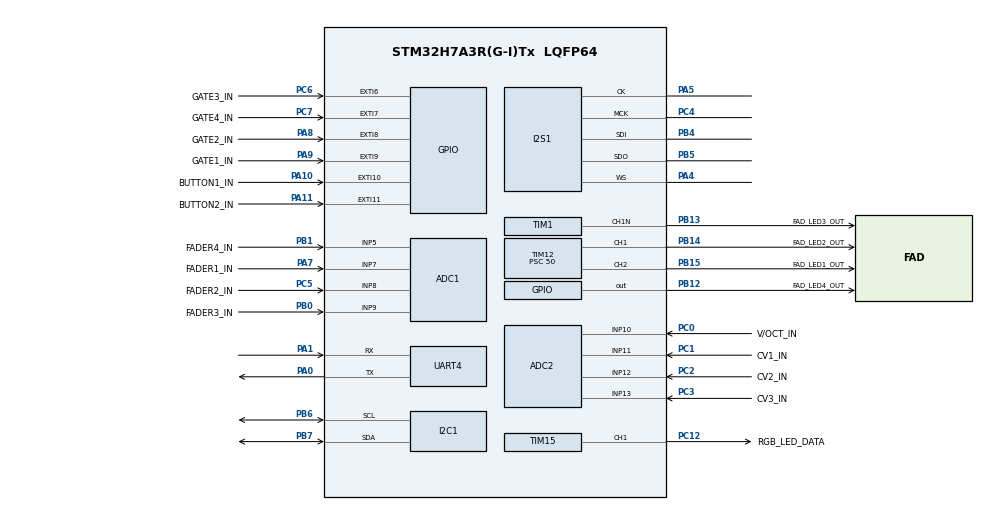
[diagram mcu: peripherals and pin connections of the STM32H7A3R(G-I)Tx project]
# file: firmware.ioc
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ADC1.Channel-1\#ChannelRegularConversion=ADC_CHANNEL_7
ADC1.Channel-2\#ChannelRegularConversion=ADC_CHANNEL_8
ADC1.Channel-3\#ChannelRegularConversion=ADC_CHANNEL_9
ADC1.Channel-4\#ChannelRegularConversion=ADC_CHANNEL_5
ADC1.ClockPrescaler=ADC_CLOCK_ASYNC_DIV4
ADC1.ContinuousConvMode=ENABLE
ADC1.ConversionDataManagement=ADC_CONVERSIONDATA_DMA_CIRCULAR
ADC1.NbrOfConversion=4
ADC1.NbrOfConversionFlag=1
ADC1.OffsetNumber-1\#ChannelRegularConversion=ADC_OFFSET_NONE
ADC1.OffsetNumber-2\#ChannelRegularConversion=ADC_OFFSET_NONE
ADC1.OffsetNumber-3\#ChannelRegularConversion=ADC_OFFSET_NONE
ADC1.OffsetNumber-4\#ChannelRegularConversion=ADC_OFFSET_NONE
ADC1.OffsetSignedSaturation-1\#ChannelRegularConversion=DISABLE
ADC1.OffsetSignedSaturation-2\#ChannelRegularConversion=DISABLE
ADC1.OffsetSignedSaturation-3\#ChannelRegularConversion=DISABLE
ADC1.OffsetSignedSaturation-4\#ChannelRegularConversion=DISABLE
ADC1.OversamplingMode=ENABLE
ADC1.Rank-1\#ChannelRegularConversion=1
ADC1.Rank-2\#ChannelRegularConversion=2
ADC1.Rank-3\#ChannelRegularConversion=3
ADC1.Rank-4\#ChannelRegularConversion=4
ADC1.Ratio=32
ADC1.RightBitShift=ADC_RIGHTBITSHIFT_5
ADC1.SamplingTime-1\#ChannelRegularConversion=ADC_SAMPLETIME_64CYCLES_5
ADC1.SamplingTime-2\#ChannelRegularConversion=ADC_SAMPLETIME_64CYCLES_5
ADC1.SamplingTime-3\#ChannelRegularConversion=ADC_SAMPLETIME_64CYCLES_5
ADC1.SamplingTime-4\#ChannelRegularConversion=ADC_SAMPLETIME_64CYCLES_5
ADC1.master=1
ADC2.Channel-5\#ChannelRegularConversion=ADC_CHANNEL_10
ADC2.Channel-6\#ChannelRegularConversion=ADC_CHANNEL_11
ADC2.Channel-7\#ChannelRegularConversion=ADC_CHANNEL_12
ADC2.Channel-8\#ChannelRegularConversion=ADC_CHANNEL_13
ADC2.ClockPrescaler=ADC_CLOCK_ASYNC_DIV4
ADC2.ContinuousConvMode=ENABLE
ADC2.ConversionDataManagement=ADC_CONVERSIONDATA_DMA_CIRCULAR
ADC2.NbrOfConversion=4
ADC2.NbrOfConversionFlag=1
ADC2.OffsetNumber-5\#ChannelRegularConversion=ADC_OFFSET_NONE
ADC2.OffsetNumber-6\#ChannelRegularConversion=ADC_OFFSET_NONE
ADC2.OffsetNumber-7\#ChannelRegularConversion=ADC_OFFSET_NONE
ADC2.OffsetNumber-8\#ChannelRegularConversion=ADC_OFFSET_NONE
ADC2.OffsetSignedSaturation-5\#ChannelRegularConversion=DISABLE
ADC2.OffsetSignedSaturation-6\#ChannelRegularConversion=DISABLE
ADC2.OffsetSignedSaturation-7\#ChannelRegularConversion=DISABLE
ADC2.OffsetSignedSaturation-8\#ChannelRegularConversion=DISABLE
ADC2.OversamplingMode=ENABLE
ADC2.Rank-5\#ChannelRegularConversion=1
ADC2.Rank-6\#ChannelRegularConversion=2
ADC2.Rank-7\#ChannelRegularConversion=3
ADC2.Rank-8\#ChannelRegularConversion=4
ADC2.Ratio=32
ADC2.RightBitShift=ADC_RIGHTBITSHIFT_5
ADC2.SamplingTime-5\#ChannelRegularConversion=ADC_SAMPLETIME_64CYCLES_5
ADC2.SamplingTime-6\#ChannelRegularConversion=ADC_SAMPLETIME_64CYCLES_5
ADC2.SamplingTime-7\#ChannelRegularConversion=ADC_SAMPLETIME_64CYCLES_5
ADC2.SamplingTime-8\#ChannelRegularConversion=ADC_SAMPLETIME_64CYCLES_5
CORTEX_M7.AccessPermission_S-Cortex_Memory_Protection_Unit_Region1_Settings_S=MPU_REGION_FULL_ACCESS
CORTEX_M7.BaseAddress_S-Cortex_Memory_Protection_Unit_Region1_Settings_S=0x08FFF80C
CORTEX_M7.Enable_S-Cortex_Memory_Protection_Unit_Region1_Settings_S=MPU_REGION_ENABLE
CORTEX_M7.Enable_Spec=MPU_REGION_ENABLE
CORTEX_M7.Size_S-Cortex_Memory_Protection_Unit_Region1_Settings_S=MPU_REGION_SIZE_2MB
CORTEX_M7.default_mode_Activation=1
Dma.ADC1.0.Direction=DMA_PERIPH_TO_MEMORY
Dma.ADC1.0.EventEnable=DISABLE
Dma.ADC1.0.FIFOMode=DMA_FIFOMODE_DISABLE
Dma.ADC1.0.Instance=DMA1_Stream2
Dma.ADC1.0.MemDataAlignment=DMA_MDATAALIGN_HALFWORD
Dma.ADC1.0.MemInc=DMA_MINC_ENABLE
Dma.ADC1.0.Mode=DMA_CIRCULAR
Dma.ADC1.0.PeriphDataAlignment=DMA_PDATAALIGN_HALFWORD
Dma.ADC1.0.PeriphInc=DMA_PINC_DISABLE
Dma.ADC1.0.Polarity=HAL_DMAMUX_REQ_GEN_RISING
Dma.ADC1.0.Priority=DMA_PRIORITY_LOW
Dma.ADC1.0.RequestNumber=1
Dma.ADC1.0.SignalID=NONE
Dma.ADC1.0.SyncEnable=DISABLE
Dma.ADC1.0.SyncPolarity=HAL_DMAMUX_SYNC_NO_EVENT
Dma.ADC1.0.SyncRequestNumber=1
Dma.ADC1.0.SyncSignalID=NONE
Dma.ADC2.1.Direction=DMA_PERIPH_TO_MEMORY
Dma.ADC2.1.EventEnable=DISABLE
Dma.ADC2.1.FIFOMode=DMA_FIFOMODE_DISABLE
Dma.ADC2.1.Instance=DMA1_Stream3
Dma.ADC2.1.MemDataAlignment=DMA_MDATAALIGN_HALFWORD
Dma.ADC2.1.MemInc=DMA_MINC_ENABLE
Dma.ADC2.1.Mode=DMA_CIRCULAR
Dma.ADC2.1.PeriphDataAlignment=DMA_PDATAALIGN_HALFWORD
Dma.ADC2.1.PeriphInc=DMA_PINC_DISABLE
Dma.ADC2.1.Polarity=HAL_DMAMUX_REQ_GEN_RISING
Dma.ADC2.1.Priority=DMA_PRIORITY_LOW
Dma.ADC2.1.RequestNumber=1
Dma.ADC2.1.SignalID=NONE
Dma.ADC2.1.SyncEnable=DISABLE
Dma.ADC2.1.SyncPolarity=HAL_DMAMUX_SYNC_NO_EVENT
Dma.ADC2.1.SyncRequestNumber=1
Dma.ADC2.1.SyncSignalID=NONE
Dma.Request0=ADC1
Dma.Request1=ADC2
Dma.Request2=SPI1_RX
Dma.Request3=SPI1_TX
Dma.Request4=TIM15_CH1
Dma.SPI1_RX.2.Direction=DMA_PERIPH_TO_MEMORY
Dma.SPI1_RX.2.EventEnable=DISABLE
Dma.SPI1_RX.2.FIFOMode=DMA_FIFOMODE_DISABLE
Dma.SPI1_RX.2.Instance=DMA1_Stream0
Dma.SPI1_RX.2.MemDataAlignment=DMA_MDATAALIGN_HALFWORD
Dma.SPI1_RX.2.MemInc=DMA_MINC_ENABLE
Dma.SPI1_RX.2.Mode=DMA_CIRCULAR
Dma.SPI1_RX.2.PeriphDataAlignment=DMA_PDATAALIGN_HALFWORD
Dma.SPI1_RX.2.PeriphInc=DMA_PINC_DISABLE
Dma.SPI1_RX.2.Polarity=HAL_DMAMUX_REQ_GEN_RISING
Dma.SPI1_RX.2.Priority=DMA_PRIORITY_LOW
Dma.SPI1_RX.2.RequestNumber=1
Dma.SPI1_RX.2.SignalID=NONE
Dma.SPI1_RX.2.SyncEnable=DISABLE
Dma.SPI1_RX.2.SyncPolarity=HAL_DMAMUX_SYNC_NO_EVENT
Dma.SPI1_RX.2.SyncRequestNumber=1
Dma.SPI1_RX.2.SyncSignalID=NONE
Dma.SPI1_TX.3.Direction=DMA_MEMORY_TO_PERIPH
Dma.SPI1_TX.3.EventEnable=DISABLE
Dma.SPI1_TX.3.FIFOMode=DMA_FIFOMODE_DISABLE
Dma.SPI1_TX.3.Instance=DMA1_Stream1
Dma.SPI1_TX.3.MemDataAlignment=DMA_MDATAALIGN_HALFWORD
Dma.SPI1_TX.3.MemInc=DMA_MINC_ENABLE
Dma.SPI1_TX.3.Mode=DMA_CIRCULAR
Dma.SPI1_TX.3.PeriphDataAlignment=DMA_PDATAALIGN_HALFWORD
Dma.SPI1_TX.3.PeriphInc=DMA_PINC_DISABLE
Dma.SPI1_TX.3.Polarity=HAL_DMAMUX_REQ_GEN_RISING
Dma.SPI1_TX.3.Priority=DMA_PRIORITY_LOW
Dma.SPI1_TX.3.RequestNumber=1
Dma.SPI1_TX.3.SignalID=NONE
Dma.SPI1_TX.3.SyncEnable=DISABLE
Dma.SPI1_TX.3.SyncPolarity=HAL_DMAMUX_SYNC_NO_EVENT
Dma.SPI1_TX.3.SyncRequestNumber=1
Dma.SPI1_TX.3.SyncSignalID=NONE
Dma.TIM15_CH1.4.Direction=DMA_MEMORY_TO_PERIPH
Dma.TIM15_CH1.4.EventEnable=DISABLE
Dma.TIM15_CH1.4.FIFOMode=DMA_FIFOMODE_DISABLE
Dma.TIM15_CH1.4.Instance=DMA1_Stream4
Dma.TIM15_CH1.4.MemDataAlignment=DMA_MDATAALIGN_HALFWORD
Dma.TIM15_CH1.4.MemInc=DMA_MINC_ENABLE
Dma.TIM15_CH1.4.Mode=DMA_NORMAL
Dma.TIM15_CH1.4.PeriphDataAlignment=DMA_PDATAALIGN_HALFWORD
Dma.TIM15_CH1.4.PeriphInc=DMA_PINC_DISABLE
Dma.TIM15_CH1.4.Polarity=HAL_DMAMUX_REQ_GEN_RISING
Dma.TIM15_CH1.4.Priority=DMA_PRIORITY_LOW
Dma.TIM15_CH1.4.RequestNumber=1
Dma.TIM15_CH1.4.SignalID=NONE
Dma.TIM15_CH1.4.SyncEnable=DISABLE
Dma.TIM15_CH1.4.SyncPolarity=HAL_DMAMUX_SYNC_NO_EVENT
Dma.TIM15_CH1.4.SyncRequestNumber=1
Dma.TIM15_CH1.4.SyncSignalID=NONE
FREERTOS.Tasks01=defaultTask,24,512,StartDefaultTask,Default,NULL,Dynamic,NULL,NULL
FREERTOS.configMINIMAL_STACK_SIZE=256
I2C1.Timing=0x20B0CCFF
I2S1.AudioFreq=I2S_AUDIOFREQ_48K
I2S1.CPOL=I2S_CPOL_LOW
I2S1.ErrorAudioFreq=0.0 %
I2S1.Instance=SPI$Index
I2S1.RealAudioFreq=48.0 KHz
Mcu.Family=STM32H7
Mcu.Name=STM32H7A3R(G-I)Tx
Mcu.Package=LQFP64
NVIC.DMA1_Stream0_IRQn=true\:5\:0\:false\:false\:true\:true\:false\:true\:true
NVIC.DMA1_Stream1_IRQn=true\:5\:0\:false\:false\:true\:true\:false\:true\:true
NVIC.DMA1_Stream2_IRQn=true\:7\:0\:true\:false\:true\:true\:false\:true\:true
NVIC.DMA1_Stream3_IRQn=true\:8\:0\:true\:false\:true\:true\:false\:true\:true
NVIC.DMA1_Stream4_IRQn=true\:5\:0\:false\:false\:true\:true\:false\:true\:true
NVIC.EXTI15_10_IRQn=true\:10\:0\:true\:false\:true\:true\:true\:true\:true
NVIC.EXTI9_5_IRQn=true\:10\:0\:true\:false\:true\:true\:true\:true\:true
NVIC.PriorityGroup=NVIC_PRIORITYGROUP_4
NVIC.TIM15_IRQn=true\:5\:0\:false\:false\:true\:true\:true\:true\:true
NVIC.TIM17_IRQn=true\:5\:0\:false\:false\:true\:true\:true\:true\:true
NVIC.TIM7_IRQn=true\:15\:0\:false\:false\:true\:false\:false\:true\:true
NVIC.TIM8_TRG_COM_TIM14_IRQn=true\:5\:0\:false\:false\:true\:true\:true\:true\:true
NVIC.TIM8_UP_TIM13_IRQn=true\:5\:0\:false\:false\:true\:true\:true\:true\:true
NVIC.TimeBase=TIM7_IRQn
NVIC.TimeBaseIP=TIM7
PA0.Mode=Asynchronous
PA0.Signal=UART4_TX
PA1.Mode=Asynchronous
PA1.Signal=UART4_RX
PA10.GPIO_Label=BUTTON1_IN
PA10.GPIO_ModeDefaultEXTI=GPIO_MODE_IT_FALLING
PA10.Signal=GPXTI10
PA11.GPIO_Label=BUTTON2_IN
PA11.GPIO_ModeDefaultEXTI=GPIO_MODE_IT_FALLING
PA11.Signal=GPXTI11
PA13.Mode=Trace_Asynchronous_SW
PA13.Signal=DEBUG_JTMS-SWDIO
PA14.Mode=Trace_Asynchronous_SW
PA14.Signal=DEBUG_JTCK-SWCLK
PA4.GPIO_Speed=GPIO_SPEED_FREQ_VERY_HIGH
PA4.Mode=Full_Duplex_Master
PA4.Signal=I2S1_WS
PA5.GPIO_Speed=GPIO_SPEED_FREQ_MEDIUM
PA5.Mode=Full_Duplex_Master
PA5.Signal=I2S1_CK
PA7.GPIO_Label=FADER1_IN
PA7.Signal=ADCx_INP7
PA8.GPIO_Label=GATE2_IN
PA8.GPIO_ModeDefaultEXTI=GPIO_MODE_IT_FALLING
PA8.Signal=GPXTI8
PA9.GPIO_Label=GATE1_IN
PA9.GPIO_ModeDefaultEXTI=GPIO_MODE_IT_FALLING
PA9.Signal=GPXTI9
PB0.GPIO_Label=FADER3_IN
PB0.Signal=ADCx_INP9
PB1.GPIO_Label=FADER4_IN
PB1.Signal=ADCx_INP5
PB12.GPIO_Label=FAD_LED4_OUT
PB12.Signal=GPIO_Output
PB13.GPIO_Label=FAD_LED3_OUT
PB13.Mode=PWM Generation1 CH1N
PB13.Signal=TIM1_CH1N
PB14.GPIO_Label=FAD_LED2_OUT
PB14.Signal=S_TIM12_CH1
PB15.GPIO_Label=FAD_LED1_OUT
PB15.Signal=S_TIM12_CH2
PB3.Mode=Trace_Asynchronous_SW
PB3.Signal=DEBUG_JTDO-SWO
PB4.GPIO_Speed=GPIO_SPEED_FREQ_VERY_HIGH
PB4.Mode=Full_Duplex_Master
PB4.Signal=I2S1_SDI
PB5.GPIO_Speed=GPIO_SPEED_FREQ_VERY_HIGH
PB5.Mode=Full_Duplex_Master
PB5.Signal=I2S1_SDO
PB6.Mode=I2C
PB6.Signal=I2C1_SCL
PB7.Mode=I2C
PB7.Signal=I2C1_SDA
PC0.GPIO_Label=V/OCT_IN
PC0.Signal=ADCx_INP10
PC1.GPIO_Label=CV1_IN
PC1.Signal=ADCx_INP11
PC12.GPIO_Label=RGB_LED_DATA
PC12.Signal=S_TIM15_CH1
PC2.GPIO_Label=CV2_IN
PC2.Signal=ADCx_INP12
PC3.GPIO_Label=CV3_IN
PC3.Signal=ADCx_INP13
PC4.GPIO_Speed=GPIO_SPEED_FREQ_VERY_HIGH
PC4.Mode=Master_Clock_Activated
PC4.Signal=I2S1_MCK
PC5.GPIO_Label=FADER2_IN
PC5.Signal=ADCx_INP8
PC6.GPIO_Label=GATE3_IN
PC6.GPIO_ModeDefaultEXTI=GPIO_MODE_IT_FALLING
PC6.Signal=GPXTI6
PC7.GPIO_Label=GATE4_IN
PC7.GPIO_ModeDefaultEXTI=GPIO_MODE_IT_FALLING
PC7.Signal=GPXTI7
PH0-OSC_IN.Mode=HSE-External-Oscillator
PH0-OSC_IN.Signal=RCC_OSC_IN
PH1-OSC_OUT.Mode=HSE-External-Oscillator
PH1-OSC_OUT.Signal=RCC_OSC_OUT
ProjectManager.HeapSize=0x4000
ProjectManager.StackSize=0x1000
ProjectManager.TargetToolchain=CMake
RCC.ADCCLockSelection=RCC_ADCCLKSOURCE_PLL3
RCC.ADCFreq_Value=6000000
RCC.APB1Freq_Value=140000000
RCC.APB2Freq_Value=140000000
RCC.APB3Freq_Value=140000000
RCC.APB4Freq_Value=140000000
RCC.CDPPRE=RCC_APB3_DIV2
RCC.CDPPRE1=RCC_APB1_DIV2
RCC.CDPPRE2=RCC_APB2_DIV2
RCC.CortexFreq_Value=280000000
RCC.DIVM1=6
RCC.DIVM2=5
RCC.DIVM3=4
RCC.DIVN1=140
RCC.DIVN2=64
RCC.DIVN3=32
RCC.DIVP2=25
RCC.DIVP3=6
RCC.DIVQ1=25
RCC.DIVQ2=38
RCC.DIVQ3=6
RCC.DIVR3=32
RCC.HCLKFreq_Value=280000000
RCC.PLL2FRACN=0
RCC.PLLFRACN=0
RCC.PLLSourceVirtual=RCC_PLLSOURCE_HSE
RCC.SPI123CLockSelection=RCC_SPI123CLKSOURCE_PLL2
RCC.SRDPPRE=RCC_APB4_DIV2
RCC.SYSCLKFreq_VALUE=280000000
RCC.SYSCLKSource=RCC_SYSCLKSOURCE_PLLCLK
RCC.USBFreq_Value=22400000
SH.ADCx_INP10.0=ADC2_INP10,IN10-Single-Ended
SH.ADCx_INP11.0=ADC2_INP11,IN11-Single-Ended
SH.ADCx_INP12.0=ADC2_INP12,IN12-Single-Ended
SH.ADCx_INP13.0=ADC2_INP13,IN13-Single-Ended
SH.ADCx_INP5.0=ADC1_INP5,IN5-Single-Ended
SH.ADCx_INP7.0=ADC1_INP7,IN7-Single-Ended
SH.ADCx_INP8.0=ADC1_INP8,IN8-Single-Ended
SH.ADCx_INP9.0=ADC1_INP9,IN9-Single-Ended
SH.S_TIM12_CH1.0=TIM12_CH1,PWM Generation1 CH1
SH.S_TIM12_CH2.0=TIM12_CH2,PWM Generation2 CH2
SH.S_TIM15_CH1.0=TIM15_CH1,PWM Generation1 CH1
STMicroelectronics.X-CUBE-ALGOBUILD.1.4.0.LibraryCcDSPOoLibraryJjDSPOoLibrary=true
TIM1.AutoReloadPreload=TIM_AUTORELOAD_PRELOAD_ENABLE
TIM1.Channel-PWM\ Generation1\ CH1N=TIM_CHANNEL_1
TIM1.Period=49998
TIM1.Prescaler=50
TIM12.AutoReloadPreload=TIM_AUTORELOAD_PRELOAD_ENABLE
TIM12.Channel-PWM\ Generation1\ CH1=TIM_CHANNEL_1
TIM12.Channel-PWM\ Generation2\ CH2=TIM_CHANNEL_2
TIM12.Period=49998
TIM12.Prescaler=50
TIM13.AutoReloadPreload=TIM_AUTORELOAD_PRELOAD_ENABLE
TIM13.Period=499
TIM13.Prescaler=27999
TIM14.Period=199 
TIM14.Prescaler=27999
TIM15.AutoReloadPreload=TIM_AUTORELOAD_PRELOAD_ENABLE
TIM15.Channel-PWM\ Generation1\ CH1=TIM_CHANNEL_1
TIM15.OCPolarity_1=TIM_OCPOLARITY_LOW
TIM15.Period=349
TIM17.AutoReloadPreload=TIM_AUTORELOAD_PRELOAD_ENABLE
TIM17.Period=999
TIM17.Prescaler=2332
VP_FREERTOS_VS_CMSIS_V2.Mode=CMSIS_V2
VP_MEMORYMAP_VS_MEMORYMAP.Mode=CurAppReg
VP_STMicroelectronics.X-CUBE-ALGOBUILD_VS_DSPOoLibraryJjLibrary_1.4.0_1.4.0.Mode=DSPOoLibraryJjLibrary
VP_SYS_VS_tim7.Mode=TIM7
VP_TIM13_VS_ClockSourceINT.Mode=Enable_Timer
VP_TIM13_VS_OPM.Mode=OPM_bit
VP_TIM14_VS_ClockSourceINT.Mode=Enable_Timer
VP_TIM14_VS_OPM.Mode=OPM_bit
VP_TIM17_VS_ClockSourceINT.Mode=Enable_Timer
board=custom

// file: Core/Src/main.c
/* USER CODE BEGIN Header */
/**
  ******************************************************************************
  * @file           : main.c
  * @brief          : Main program body
  ******************************************************************************
  * @attention
  *
  * Copyright (c) 2026 STMicroelectronics.
  * All rights reserved.
  *
  * This software is licensed under terms that can be found in the LICENSE file
  * in the root directory of this software component.
  * If no LICENSE file comes with this software, it is provided AS-IS.
  *
  ******************************************************************************
  */
/* USER CODE END Header */
#include "main.h"
#include "adc.h"
#include "dma.h"
#include "gpio.h"
#include "i2c.h"
#include "i2s.h"
#include "tim.h"
#include "usart.h"

/* USER CODE BEGIN Includes */
#include "audioengine.h"
#include "drivers/gpio_driver.h"
#include "drivers/swo_log.h"
#include "drivers/ws2812_driver.h"
#include <stdint.h>

/* USER CODE END Includes */

void SystemClock_Config(void);
void PeriphCommonClock_Config(void);
static void MPU_Config(void);
/* USER CODE BEGIN PFP */
void FREERTOS_Init(void);

/* USER CODE END PFP */

int main(void) {
    /* USER CODE BEGIN 1 */
    SCB_EnableICache();
    // SCB_EnableDCache();
    /* USER CODE END 1 */

    /* MPU Configuration--------------------------------------------------------*/
    MPU_Config();

    /* MCU Configuration--------------------------------------------------------*/

    /* Reset of all peripherals, Initializes the Flash interface and the Systick. */
    HAL_Init();

    /* USER CODE BEGIN Init */
    // Set NVIC priority grouping so that all interrupt priority bits
    // are treated as preemption priority bits (no subpriority bits).
    // FreeRTOS uses BASEPRI to mask interrupts below
    // configMAX_SYSCALL_INTERRUPT_PRIORITY during FromISR API calls.
    // If the grouping is wrong, BASEPRI is not applied and accessing
    // kernel objects (like queues) from an ISR can cause BusFaults.
    // HAL_NVIC_SetPriorityGrouping(NVIC_PRIORITYGROUP_4);
    /* USER CODE END Init */

    /* Configure the system clock */
    SystemClock_Config();

    /* Configure the peripherals common clocks */
    PeriphCommonClock_Config();

    /* Initialize all configured peripherals */
    MX_GPIO_Init();
    MX_DMA_Init();
    MX_ADC1_Init();
    MX_ADC2_Init();
    MX_I2C1_Init();
    MX_UART4_Init();
    MX_I2S1_Init();
    MX_TIM1_Init();
    MX_TIM12_Init();
    MX_TIM15_Init();
    MX_TIM17_Init();
    MX_TIM13_Init();
    MX_TIM14_Init();
    /* USER CODE BEGIN 2 */
#ifdef CONFIG_DEBUG_LOGS
    ITM_Init();
#endif
    // // fill sinetable
    // initSineTable();

    // generateSineWave(440);

    FREERTOS_Init();
    vTaskStartScheduler();

    while (1) {
    }
}

void SystemClock_Config(void) {
    RCC_OscInitTypeDef RCC_OscInitStruct = {0};
    RCC_ClkInitTypeDef RCC_ClkInitStruct = {0};

    /*AXI clock gating */
    RCC->CKGAENR = 0xE003FFFF;

    /** Supply configuration update enable
  */
    HAL_PWREx_ConfigSupply(PWR_LDO_SUPPLY);

    /** Configure the main internal regulator output voltage
  */
    __HAL_PWR_VOLTAGESCALING_CONFIG(PWR_REGULATOR_VOLTAGE_SCALE0);

    while (!__HAL_PWR_GET_FLAG(PWR_FLAG_VOSRDY)) {
    }

    /** Initializes the RCC Oscillators according to the specified parameters
  * in the RCC_OscInitTypeDef structure.
  */
    RCC_OscInitStruct.OscillatorType = RCC_OSCILLATORTYPE_HSE;
    RCC_OscInitStruct.HSEState = RCC_HSE_ON;
    RCC_OscInitStruct.PLL.PLLState = RCC_PLL_ON;
    RCC_OscInitStruct.PLL.PLLSource = RCC_PLLSOURCE_HSE;
    RCC_OscInitStruct.PLL.PLLM = 6;
    RCC_OscInitStruct.PLL.PLLN = 140;
    RCC_OscInitStruct.PLL.PLLP = 2;
    RCC_OscInitStruct.PLL.PLLQ = 25;
    RCC_OscInitStruct.PLL.PLLR = 2;
    RCC_OscInitStruct.PLL.PLLRGE = RCC_PLL1VCIRANGE_2;
    RCC_OscInitStruct.PLL.PLLVCOSEL = RCC_PLL1VCOWIDE;
    RCC_OscInitStruct.PLL.PLLFRACN = 0;
    if (HAL_RCC_OscConfig(&RCC_OscInitStruct) != HAL_OK) {
        Error_Handler();
    }

    /** Initializes the CPU, AHB and APB buses clocks
  */
    RCC_ClkInitStruct.ClockType = RCC_CLOCKTYPE_HCLK | RCC_CLOCKTYPE_SYSCLK | RCC_CLOCKTYPE_PCLK1 | RCC_CLOCKTYPE_PCLK2 |
                                  RCC_CLOCKTYPE_D3PCLK1 | RCC_CLOCKTYPE_D1PCLK1;
    RCC_ClkInitStruct.SYSCLKSource = RCC_SYSCLKSOURCE_PLLCLK;
    RCC_ClkInitStruct.SYSCLKDivider = RCC_SYSCLK_DIV1;
    RCC_ClkInitStruct.AHBCLKDivider = RCC_HCLK_DIV1;
    RCC_ClkInitStruct.APB3CLKDivider = RCC_APB3_DIV2;
    RCC_ClkInitStruct.APB1CLKDivider = RCC_APB1_DIV2;
    RCC_ClkInitStruct.APB2CLKDivider = RCC_APB2_DIV2;
    RCC_ClkInitStruct.APB4CLKDivider = RCC_APB4_DIV2;

    if (HAL_RCC_ClockConfig(&RCC_ClkInitStruct, FLASH_LATENCY_6) != HAL_OK) {
        Error_Handler();
    }
}

void PeriphCommonClock_Config(void) {
    RCC_PeriphCLKInitTypeDef PeriphClkInitStruct = {0};

    /** Initializes the peripherals clock
  */
    PeriphClkInitStruct.PeriphClockSelection = RCC_PERIPHCLK_ADC;
    PeriphClkInitStruct.PLL3.PLL3M = 4;
    PeriphClkInitStruct.PLL3.PLL3N = 32;
    PeriphClkInitStruct.PLL3.PLL3P = 6;
    PeriphClkInitStruct.PLL3.PLL3Q = 6;
    PeriphClkInitStruct.PLL3.PLL3R = 32;
    PeriphClkInitStruct.PLL3.PLL3RGE = RCC_PLL3VCIRANGE_2;
    PeriphClkInitStruct.PLL3.PLL3VCOSEL = RCC_PLL3VCOWIDE;
    PeriphClkInitStruct.PLL3.PLL3FRACN = 0;
    PeriphClkInitStruct.AdcClockSelection = RCC_ADCCLKSOURCE_PLL3;
    if (HAL_RCCEx_PeriphCLKConfig(&PeriphClkInitStruct) != HAL_OK) {
        Error_Handler();
    }
}

/* MPU Configuration */

void MPU_Config(void) {
    MPU_Region_InitTypeDef MPU_InitStruct = {0};

    /* Disables the MPU */
    HAL_MPU_Disable();

    /** Initializes and configures the Region and the memory to be protected
  */
    MPU_InitStruct.Enable = MPU_REGION_ENABLE;
    MPU_InitStruct.Number = MPU_REGION_NUMBER0;
    MPU_InitStruct.BaseAddress = 0x0;
    MPU_InitStruct.Size = MPU_REGION_SIZE_4GB;
    MPU_InitStruct.SubRegionDisable = 0x87;
    MPU_InitStruct.TypeExtField = MPU_TEX_LEVEL0;
    MPU_InitStruct.AccessPermission = MPU_REGION_NO_ACCESS;
    MPU_InitStruct.DisableExec = MPU_INSTRUCTION_ACCESS_DISABLE;
    MPU_InitStruct.IsShareable = MPU_ACCESS_SHAREABLE;
    MPU_InitStruct.IsCacheable = MPU_ACCESS_NOT_CACHEABLE;
    MPU_InitStruct.IsBufferable = MPU_ACCESS_NOT_BUFFERABLE;

    HAL_MPU_ConfigRegion(&MPU_InitStruct);

    /** Initializes and configures the Region and the memory to be protected
  */
    MPU_InitStruct.Number = MPU_REGION_NUMBER1;
    MPU_InitStruct.BaseAddress = 0x08FFF80C;
    MPU_InitStruct.Size = MPU_REGION_SIZE_2MB;
    MPU_InitStruct.SubRegionDisable = 0x0;
    MPU_InitStruct.AccessPermission = MPU_REGION_FULL_ACCESS;
    MPU_InitStruct.DisableExec = MPU_INSTRUCTION_ACCESS_ENABLE;
    MPU_InitStruct.IsShareable = MPU_ACCESS_NOT_SHAREABLE;

    HAL_MPU_ConfigRegion(&MPU_InitStruct);
    /* Enables the MPU */
    HAL_MPU_Enable(MPU_PRIVILEGED_DEFAULT);
}

void HAL_TIM_PeriodElapsedCallback(TIM_HandleTypeDef* htim) {
    if (htim->Instance == TIM7) {
        HAL_IncTick();
    }
    /* USER CODE BEGIN Callback 1 */
    // WS2812 Animation timer
    if (htim->Instance == TIM17) {
        ws2812_timer_callback(htim);
    }
    // ws2812 PWM
    if (htim->Instance == TIM15) {
        volatile uint32_t breakpoint = 0;
    }

    // Fader LEDs
    if (htim->Instance == TIM12 || htim->Instance == TIM1) {
        volatile uint32_t breakpoint = 0;
    }

    // button debounces
    if (htim->Instance == TIM13) {
        HAL_TIM_Base_Stop_IT(htim);
        button_debounce_timer_callback(htim);
    } else if (htim->Instance == TIM14) {
        HAL_TIM_Base_Stop_IT(htim);
        button_debounce_timer_callback(htim);
    }
    /* USER CODE END Callback 1 */
}

void Error_Handler(void) {
    __disable_irq();
    while (1) {
    }
}

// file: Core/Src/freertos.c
/* USER CODE BEGIN Header */
/**
  ******************************************************************************
  * File Name          : freertos.c
  * Description        : Code for freertos applications
  ******************************************************************************
  * @attention
  *
  * Copyright (c) 2026 STMicroelectronics.
  * All rights reserved.
  *
  * This software is licensed under terms that can be found in the LICENSE file
  * in the root directory of this software component.
  * If no LICENSE file comes with this software, it is provided AS-IS.
  *
  ******************************************************************************
  */
/* USER CODE END Header */

#include "FreeRTOS.h"
#include "task.h"
#include "main.h"
#include "cmsis_os.h"

/* USER CODE BEGIN Includes */
#include "rtos.h"
#include <stdbool.h>

/* USER CODE END Includes */

/* Definitions for defaultTask */
osThreadId_t defaultTaskHandle;
const osThreadAttr_t defaultTask_attributes = {
  .name = "defaultTask",
  .stack_size = 512 * 4,
  .priority = (osPriority_t) osPriorityNormal,
};

void StartDefaultTask(void *argument);

void MX_FREERTOS_Init(void); /* (MISRA C 2004 rule 8.1) */

void MX_FREERTOS_Init(void) {
  /* USER CODE BEGIN Init */
    FREERTOS_Init();
  /* USER CODE END Init */

  /* Create the thread(s) */
  /* creation of defaultTask */
  defaultTaskHandle = osThreadNew(StartDefaultTask, NULL, &defaultTask_attributes);

}

void StartDefaultTask(void *argument)
{
    for (;;) {
        osDelay(1);
    }
}
